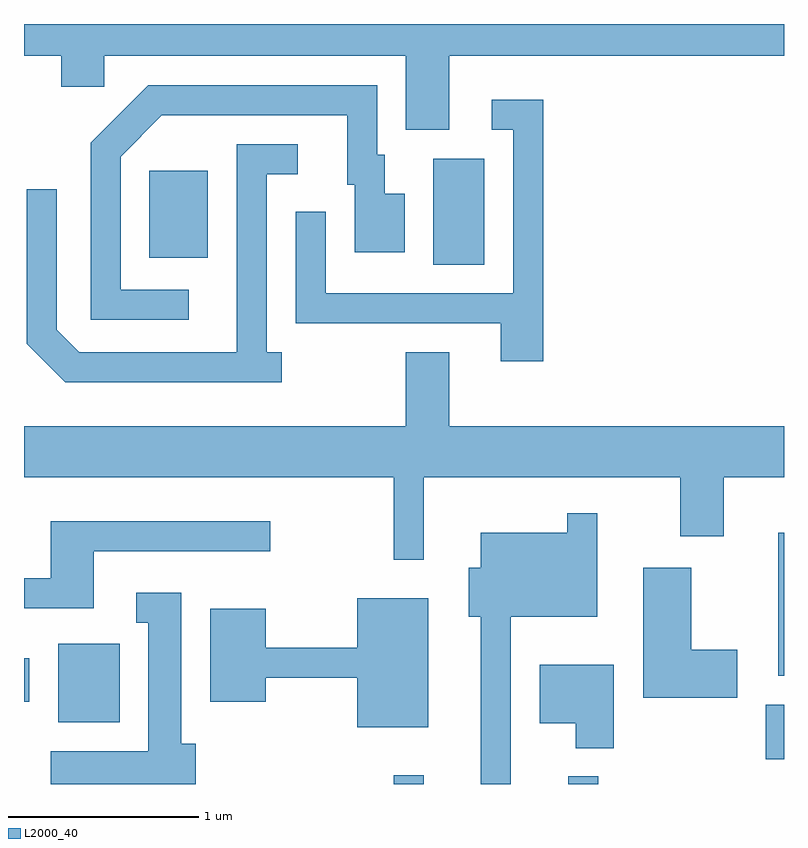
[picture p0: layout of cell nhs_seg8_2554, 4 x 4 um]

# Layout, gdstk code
import gdstk
lib = gdstk.Library(unit=1e-6, precision=1e-09)
def R(c, l, rs):  # rectangles x0, y0, x1, y1
    for r in rs: c.add(gdstk.rectangle(r[:2], r[2:], *l))
def P(c, l, *ps):  # polygons
    for p in ps: c.add(gdstk.Polygon(p, *l))
L2000_40 = (2000, 40)

nhs_seg8_2554 = lib.new_cell('nhs_seg8_2554')
R(nhs_seg8_2554, L2000_40, [(263.556,1850.342,263.714,1850.388), (264.476,1850.342,264.634,1850.383), (265.516,1850.471,265.611,1850.759), (261.791,1850.666,262.114,1851.079), (261.611,1850.776,261.639,1851.004), (265.581,1850.911,265.611,1851.664), (263.766,1853.076,264.034,1853.634), (262.271,1853.111,262.579,1853.569)])
P(nhs_seg8_2554, L2000_40, [(263.849,1854.176),(265.611,1854.176),(265.611,1854.342),(261.611,1854.342),(261.611,1854.176),(261.806,1854.176),(261.806,1854.011),(262.034,1854.011),(262.034,1854.176),(263.621,1854.176),(263.621,1853.786),(263.849,1853.786)],
  [(262.478,1852.944),(262.119,1852.944),(262.119,1853.644),(262.337,1853.861),(263.311,1853.861),(263.311,1853.496),(263.351,1853.496),(263.351,1853.141),(263.614,1853.141),(263.614,1853.449),(263.509,1853.449),(263.509,1853.654),(263.469,1853.654),(263.469,1854.019),(262.264,1854.019),(261.961,1853.717),(261.961,1852.786),(262.478,1852.786)],
  [(264.344,1853.944),(264.073,1853.944),(264.073,1853.786),(264.186,1853.786),(264.186,1852.924),(263.199,1852.924),(263.199,1853.353),(263.041,1853.353),(263.041,1852.766),(264.121,1852.766),(264.121,1852.566),(264.344,1852.566)],
  [(262.968,1852.614),(262.889,1852.614),(262.889,1853.551),(263.053,1853.551),(263.053,1853.709),(262.731,1853.709),(262.731,1852.614),(261.902,1852.614),(261.784,1852.732),(261.784,1853.473),(261.626,1853.473),(261.626,1852.659),(261.829,1852.456),(262.968,1852.456)],
  [(263.714,1851.956),(265.066,1851.956),(265.066,1851.646),(265.294,1851.646),(265.294,1851.956),(265.611,1851.956),(265.611,1852.224),(263.849,1852.224),(263.849,1852.614),(263.621,1852.614),(263.621,1852.224),(261.611,1852.224),(261.611,1851.956),(263.556,1851.956),(263.556,1851.523),(263.714,1851.523)],
  [(264.174,1851.221),(264.629,1851.221),(264.629,1851.768),(264.471,1851.768),(264.471,1851.664),(264.016,1851.664),(264.016,1851.479),(263.951,1851.479),(263.951,1851.221),(264.016,1851.221),(264.016,1850.342),(264.174,1850.342)],
  [(261.979,1851.566),(262.908,1851.566),(262.908,1851.724),(261.751,1851.724),(261.751,1851.424),(261.611,1851.424),(261.611,1851.266),(261.979,1851.266)],
  [(265.364,1851.049),(265.124,1851.049),(265.124,1851.479),(264.871,1851.479),(264.871,1850.796),(265.364,1850.796)],
  [(262.514,1850.554),(262.439,1850.554),(262.439,1851.349),(262.203,1851.349),(262.203,1851.191),(262.266,1851.191),(262.266,1850.514),(261.751,1850.514),(261.751,1850.342),(262.514,1850.342)],
  [(263.739,1851.319),(263.366,1851.319),(263.366,1851.059),(262.884,1851.059),(262.884,1851.264),(262.591,1851.264),(262.591,1850.776),(262.884,1850.776),(262.884,1850.901),(263.366,1850.901),(263.366,1850.641),(263.739,1850.641)],
  [(264.714,1850.969),(264.326,1850.969),(264.326,1850.661),(264.516,1850.661),(264.516,1850.531),(264.714,1850.531)])

lib.write_gds('nhs_seg8_2554.gds')
